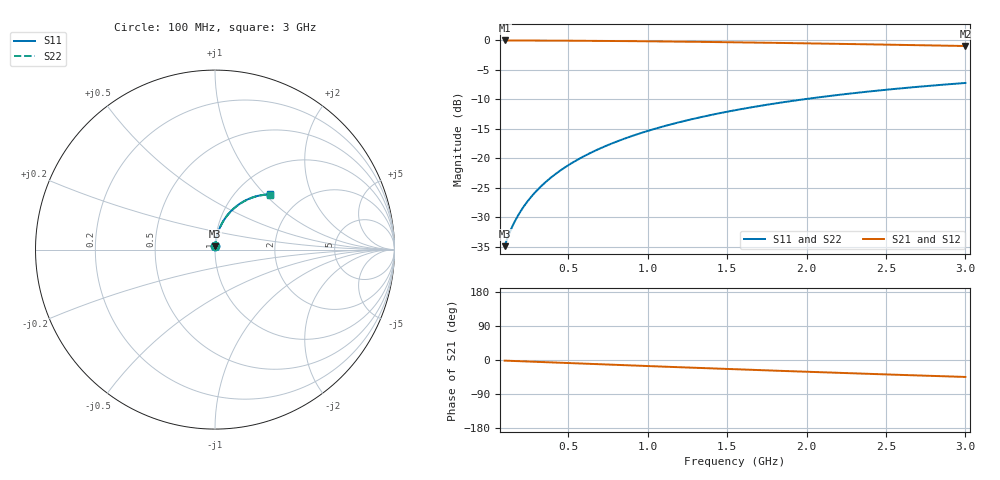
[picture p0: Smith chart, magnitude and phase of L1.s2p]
! Sonnet Data File
! From: sonnet Version : 18.53-Lite
! From Emgraph Data:
! Data File Written: 04/06/2024 10:38:45
!< HDATE 04/06/2024 10:38:13
!< MDATE 04/06/2024 10:38:13
# GHZ S MA R 50.00000
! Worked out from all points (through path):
!   291 points, 100 MHz to 3 GHz, reference 50 ohm
!   highest |S21| = -0.01 dB at 100 MHz (marker M1); lowest = -0.9 dB at 3 GHz (marker M2)
!   group delay of S21, straight-line fit = 41.4 ps
!   lowest |S11| = -34.9 dB at 100 MHz (marker M3), VSWR 1.04, Z = 50.1 + j1.8 ohm
!   |S11| at or under -10 dB: start of sweep to 1.979 GHz
!   |S22| runs from -34.9 to -7.2 dB; largest |S21 - S12| = 2e-13
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0.1  0.01799 86.2  0.9991 -1.6  0.9991 -1.6  0.01799 86.2
0.12  0.02149 86.1  0.999 -2.0  0.999 -2.0  0.02149 86.1
0.14  0.02499 85.9  0.9989 -2.3  0.9989 -2.3  0.02499 85.9
0.16  0.02848 85.7  0.9987 -2.6  0.9987 -2.6  0.02848 85.7
0.18  0.03197 85.5  0.9986 -2.9  0.9986 -2.9  0.03197 85.5
0.2  0.03545 85.3  0.9984 -3.3  0.9984 -3.3  0.03545 85.2
0.23  0.04068 84.9  0.9981 -3.7  0.9981 -3.7  0.04068 84.9
0.28  0.04937 84.2  0.9976 -4.5  0.9976 -4.5  0.04937 84.2
0.35  0.06149 83.2  0.9968 -5.7  0.9968 -5.7  0.06149 83.2
0.42  0.07357 82.2  0.9958 -6.8  0.9958 -6.8  0.07357 82.1
0.5  0.08729 81.0  0.9946 -8.1  0.9946 -8.1  0.08729 80.9
0.59  0.1026 79.6  0.993 -9.5  0.993 -9.5  0.1026 79.6
0.69  0.1195 78.1  0.9909 -11.1  0.9909 -11.1  0.1195 78.0
0.81  0.1395 76.2  0.9881 -13.0  0.9881 -13.0  0.1395 76.2
0.93  0.1593 74.4  0.985 -14.9  0.985 -14.9  0.1593 74.4
1.07  0.1819 72.3  0.9809 -17.1  0.9809 -17.1  0.1819 72.2
1.3  0.2181 68.8  0.9733 -20.6  0.9733 -20.6  0.2181 68.7
1.55  0.2558 65.1  0.9639 -24.4  0.9639 -24.4  0.2558 65.0
1.78  0.2889 61.7  0.9544 -27.8  0.9544 -27.8  0.2889 61.6
2.04  0.3243 58.0  0.9429 -31.6  0.9429 -31.6  0.3243 57.9
2.52  0.3838 51.3  0.9201 -38.3  0.9201 -38.3  0.3838 51.2
3  0.4356 45.0  0.8964 -44.7  0.8964 -44.7  0.4356 44.8
